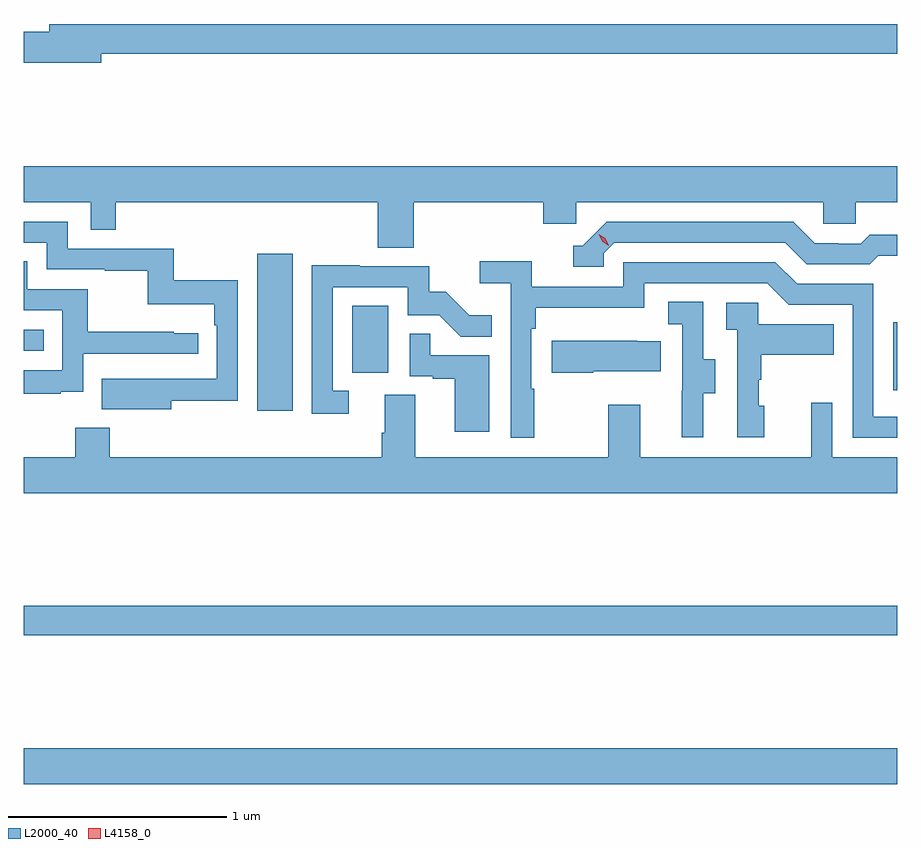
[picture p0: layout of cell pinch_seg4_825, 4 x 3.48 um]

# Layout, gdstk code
import gdstk
lib = gdstk.Library(unit=1e-6, precision=1e-09)
def R(c, l, rs):  # rectangles x0, y0, x1, y1
    for r in rs: c.add(gdstk.rectangle(r[:2], r[2:], *l))
def P(c, l, *ps):  # polygons
    for p in ps: c.add(gdstk.Polygon(p, *l))
L2000_40 = (2000, 40)
L4158_0 = (4158, 0)

pinch_seg4_825 = lib.new_cell('pinch_seg4_825')
R(pinch_seg4_825, L2000_40, [(887.091,807.476,891.091,807.64), (887.091,808.156,891.091,808.292), (888.161,809.184,888.322,809.905), (891.072,809.28,891.091,809.59), (888.596,809.358,888.76,809.665), (887.091,809.46,887.183,809.556)])
P(pinch_seg4_825, L2000_40, [(887.446,810.82),(891.091,810.82),(891.091,810.956),(887.207,810.956),(887.207,810.92),(887.091,810.92),(887.091,810.778),(887.446,810.778)],
  [(888.878,810.14),(889.469,810.14),(889.469,810.042),(889.62,810.042),(889.62,810.14),(890.751,810.14),(890.751,810.042),(890.901,810.042),(890.901,810.14),(891.091,810.14),(891.091,810.304),(887.091,810.304),(887.091,810.14),(887.397,810.14),(887.397,810.013),(887.513,810.013),(887.513,810.14),(888.713,810.14),(888.713,809.932),(888.878,809.932)],
  [(887.767,809.23),(888.072,809.23),(888.072,809.782),(887.779,809.782),(887.779,809.928),(887.292,809.928),(887.292,810.051),(887.091,810.051),(887.091,809.955),(887.196,809.955),(887.196,809.832),(887.461,809.832),(887.461,809.827),(887.658,809.827),(887.658,809.672),(887.963,809.672),(887.963,809.576),(887.976,809.576),(887.976,809.331),(887.663,809.331),(887.663,809.332),(887.449,809.332),(887.449,809.192),(887.767,809.192)],
  [(889.746,809.907),(889.794,809.955),(890.577,809.955),(890.676,809.856),(890.965,809.856),(891.004,809.895),(891.091,809.895),(891.091,809.992),(890.965,809.992),(890.923,809.949),(890.82,809.949),(890.82,809.952),(890.713,809.952),(890.614,810.051),(889.761,810.051),(889.65,809.94),(889.607,809.94),(889.607,809.844),(889.746,809.844)],
  [(889.429,809.285),(889.416,809.285),(889.416,809.561),(889.436,809.561),(889.436,809.657),(889.932,809.657),(889.932,809.769),(890.496,809.769),(890.595,809.67),(890.886,809.67),(890.886,809.061),(891.091,809.061),(891.091,809.157),(890.982,809.157),(890.982,809.766),(890.632,809.766),(890.533,809.865),(889.836,809.865),(889.836,809.754),(889.418,809.754),(889.418,809.87),(889.179,809.87),(889.179,809.768),(889.32,809.768),(889.32,809.061),(889.429,809.061)],
  [(887.261,809.273),(887.364,809.273),(887.364,809.445),(887.89,809.445),(887.89,809.541),(887.777,809.541),(887.777,809.546),(887.384,809.546),(887.384,809.742),(887.107,809.742),(887.107,809.87),(887.091,809.87),(887.091,809.646),(887.268,809.646),(887.268,809.37),(887.091,809.37),(887.091,809.262),(887.261,809.262)],
  [(888.58,809.277),(888.507,809.277),(888.507,809.751),(888.849,809.751),(888.849,809.622),(888.993,809.622),(889.091,809.524),(889.235,809.524),(889.235,809.623),(889.131,809.623),(889.024,809.73),(888.948,809.73),(888.948,809.847),(888.629,809.847),(888.629,809.852),(888.411,809.852),(888.411,809.172),(888.58,809.172)],
  [(890.203,809.266),(890.257,809.266),(890.257,809.421),(890.202,809.421),(890.202,809.684),(890.043,809.684),(890.043,809.581),(890.106,809.581),(890.106,809.277),(890.105,809.277),(890.105,809.064),(890.203,809.064)],
  [(890.482,809.208),(890.457,809.208),(890.457,809.327),(890.467,809.327),(890.467,809.441),(890.801,809.441),(890.801,809.581),(890.454,809.581),(890.454,809.679),(890.307,809.679),(890.307,809.555),(890.358,809.555),(890.358,809.064),(890.482,809.064)],
  [(889.222,809.439),(888.953,809.439),(888.953,809.537),(888.858,809.537),(888.858,809.343),(888.965,809.343),(888.965,809.331),(889.064,809.331),(889.064,809.088),(889.222,809.088)],
  [(889.699,809.366),(890.009,809.366),(890.009,809.503),(889.901,809.503),(889.901,809.506),(889.508,809.506),(889.508,809.359),(889.699,809.359)],
  [(891.091,808.972),(890.793,808.972),(890.793,809.221),(890.696,809.221),(890.696,808.972),(889.915,808.972),(889.915,809.212),(889.768,809.212),(889.768,808.972),(888.883,808.972),(888.883,809.258),(888.743,809.258),(888.743,809.084),(888.731,809.084),(888.731,808.972),(887.486,808.972),(887.486,809.107),(887.326,809.107),(887.326,808.972),(887.091,808.972),(887.091,808.808),(891.091,808.808)])
P(pinch_seg4_825, L4158_0, [(889.769,809.941),(889.739,809.961),(889.724,809.994),(889.724,809.994),(889.724,809.994),(889.754,809.974),(889.77,809.941),(889.77,809.941)])

lib.write_gds('pinch_seg4_825.gds')
